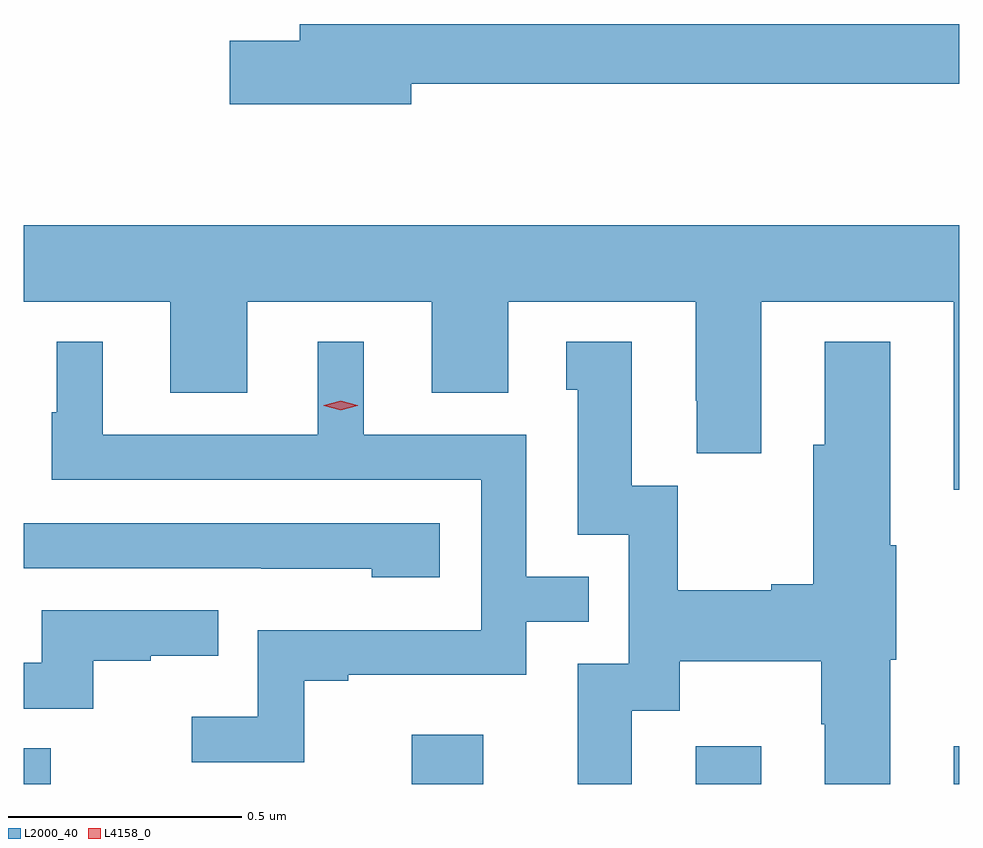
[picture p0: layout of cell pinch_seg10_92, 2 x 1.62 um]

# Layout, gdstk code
import gdstk
lib = gdstk.Library(unit=1e-6, precision=1e-09)
def R(c, l, rs):  # rectangles x0, y0, x1, y1
    for r in rs: c.add(gdstk.rectangle(r[:2], r[2:], *l))
def P(c, l, *ps):  # polygons
    for p in ps: c.add(gdstk.Polygon(p, *l))
L2000_40 = (2000, 40)
L4158_0 = (4158, 0)

pinch_seg10_92 = lib.new_cell('pinch_seg10_92')
R(pinch_seg10_92, L2000_40, [(769.179,1301.95,769.237,1302.026), (770.009,1301.95,770.161,1302.055), (770.615,1301.95,770.755,1302.031), (771.167,1301.95,771.179,1302.031)])
P(pinch_seg10_92, L2000_40, [(770.008,1303.446),(771.179,1303.446),(771.179,1303.574),(769.769,1303.574),(769.769,1303.538),(769.62,1303.538),(769.62,1303.403),(770.008,1303.403)],
  [(769.179,1302.98),(769.493,1302.98),(769.493,1302.786),(769.657,1302.786),(769.657,1302.98),(770.051,1302.98),(770.051,1302.786),(770.215,1302.786),(770.215,1302.98),(770.615,1302.98),(770.615,1302.769),(770.618,1302.769),(770.618,1302.657),(770.755,1302.657),(770.755,1302.98),(771.167,1302.98),(771.167,1302.579),(771.179,1302.579),(771.179,1303.144),(769.179,1303.144)],
  [(769.779,1302.171),(769.873,1302.171),(769.873,1302.183),(770.253,1302.183),(770.253,1302.297),(770.387,1302.297),(770.387,1302.393),(770.253,1302.393),(770.253,1302.696),(769.906,1302.696),(769.906,1302.895),(769.808,1302.895),(769.808,1302.696),(769.348,1302.696),(769.348,1302.895),(769.25,1302.895),(769.25,1302.744),(769.239,1302.744),(769.239,1302.6),(770.157,1302.6),(770.157,1302.279),(769.68,1302.279),(769.68,1302.094),(769.539,1302.094),(769.539,1301.996),(769.779,1301.996)],
  [(770.479,1302.106),(770.581,1302.106),(770.581,1302.212),(770.884,1302.212),(770.884,1302.078),(770.891,1302.078),(770.891,1301.95),(771.031,1301.95),(771.031,1302.216),(771.044,1302.216),(771.044,1302.46),(771.031,1302.46),(771.031,1302.895),(770.891,1302.895),(770.891,1302.675),(770.866,1302.675),(770.866,1302.377),(770.777,1302.377),(770.777,1302.364),(770.577,1302.364),(770.577,1302.587),(770.479,1302.587),(770.479,1302.895),(770.339,1302.895),(770.339,1302.792),(770.363,1302.792),(770.363,1302.483),(770.472,1302.483),(770.472,1302.207),(770.363,1302.207),(770.363,1301.95),(770.479,1301.95)],
  [(770.068,1302.507),(769.179,1302.507),(769.179,1302.411),(769.687,1302.411),(769.687,1302.41),(769.923,1302.41),(769.923,1302.392),(770.068,1302.392)],
  [(769.328,1302.213),(769.451,1302.213),(769.451,1302.224),(769.595,1302.224),(769.595,1302.321),(769.218,1302.321),(769.218,1302.209),(769.179,1302.209),(769.179,1302.111),(769.328,1302.111)])
P(pinch_seg10_92, L4158_0, [(769.857,1302.749),(769.821,1302.758),(769.821,1302.759),(769.821,1302.759),(769.857,1302.769),(769.893,1302.759),(769.893,1302.759),(769.893,1302.758)])

lib.write_gds('pinch_seg10_92.gds')
